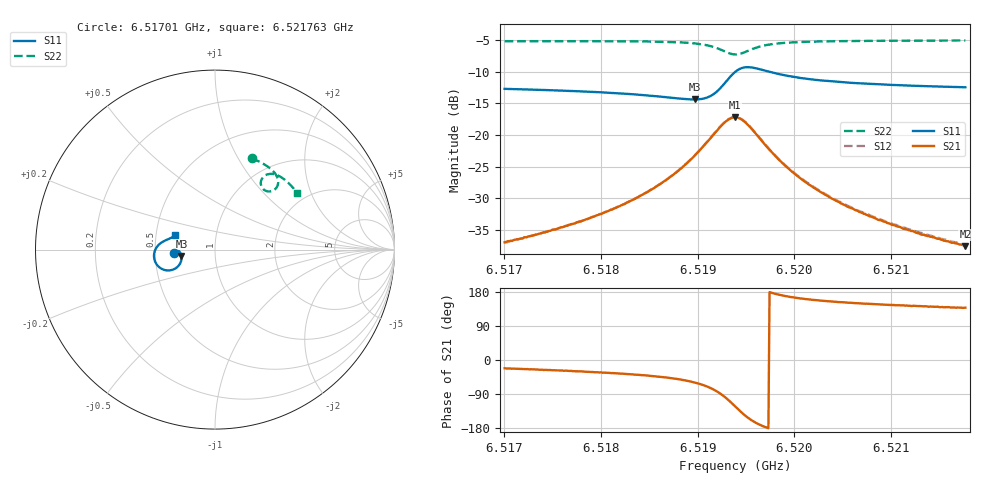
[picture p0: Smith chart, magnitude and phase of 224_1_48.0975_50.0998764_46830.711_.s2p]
#  HZ  S  RI  R  50.00
! Rohde & Schwarz Vector Network Analyzer
! Rohde-Schwarz,ZNB20-2Port,1311601062101988,3.16
! Created: UTC 12/23/2023, 3:57:05 AM
! freq[Hz]  re:S11  im:S11  re:S21  im:S21  re:S12  im:S12  re:S22  im:S22
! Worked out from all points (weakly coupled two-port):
!   401 points, 6.51701 GHz to 6.521763 GHz, reference 50 ohm
!   highest |S21| = -17.24 dB at 6.519386 GHz (marker M1); lowest = -37.6 dB at 6.521763 GHz (marker M2)
!   lowest |S11| = -14.4 dB at 6.518971 GHz (marker M3), VSWR 1.47, Z = 34.2 - j2.52 ohm
!   |S11| at or under -10 dB: start of sweep to 6.519393 GHz; 6.519733 GHz to end of sweep
!   |S22| runs from -7.3 to -5.1 dB; largest |S21 - S12| = 0.0042
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6.5170097e9  -0.2302 -0.0169  0.0132 -0.00528  0.0133 -0.00484  0.204 0.5091
6.5173662e9  -0.2263 -0.0116  0.0149 -0.00722  0.0152 -0.00654  0.2302 0.498
6.5178059e9  -0.2201 -0.0064  0.0181 -0.0105  0.0183 -0.01  0.2626 0.4818
6.51821e9  -0.2122 -0.00451  0.0224 -0.0164  0.0229 -0.0156  0.293 0.4628
6.5183645e9  -0.2082 -0.00506  0.0246 -0.0198  0.0253 -0.019  0.3048 0.4541
6.5186021e9  -0.2007 -0.00907  0.029 -0.028  0.0299 -0.0272  0.3232 0.4375
6.5188042e9  -0.1928 -0.0186  0.0331 -0.0403  0.0345 -0.0396  0.3387 0.4181
6.5189705e9  -0.1868 -0.0356  0.0347 -0.059  0.0369 -0.0581  0.3495 0.3949
6.5190775e9  -0.1868 -0.055  0.0317 -0.0778  0.0343 -0.0774  0.3518 0.3736
6.5191607e9  -0.1939 -0.0766  0.0219 -0.0972  0.0251 -0.0973  0.3471 0.3534
6.5192914e9  -0.2364 -0.1123  -0.0215 -0.1257  -0.0179 -0.1272  0.3142 0.3252
6.5193865e9  -0.294 -0.1087  -0.0729 -0.1164  -0.07 -0.1195  0.2745 0.3324
6.519434e9  -0.3188 -0.0903  -0.093 -0.0975  -0.0909 -0.101  0.2606 0.3483
6.5194934e9  -0.3365 -0.0588  -0.1052 -0.0684  -0.104 -0.0719  0.2549 0.3726
6.5196004e9  -0.3357 -0.00863  -0.0991 -0.0256  -0.0992 -0.0287  0.2694 0.4054
6.5197074e9  -0.3193 0.0207  -0.0816 -0.00304  -0.0823 -0.00549  0.2926 0.4192
6.5199213e9  -0.2898 0.0447  -0.0544 0.0114  -0.0553 0.00998  0.3297 0.4204
6.5201827e9  -0.2682 0.0548  -0.0364 0.0141  -0.0373 0.0131  0.36 0.4083
6.5205511e9  -0.2511 0.0619  -0.0237 0.0129  -0.0246 0.0124  0.3904 0.3875
6.520979e9  -0.239 0.0682  -0.0164 0.0114  -0.017 0.0109  0.4182 0.3622
6.5213236e9  -0.2316 0.0729  -0.0127 0.0101  -0.0133 0.00998  0.4374 0.3414
6.5217633e9  -0.224 0.0788  -0.00983 0.00884  -0.0103 0.00892  0.4592 0.3142
